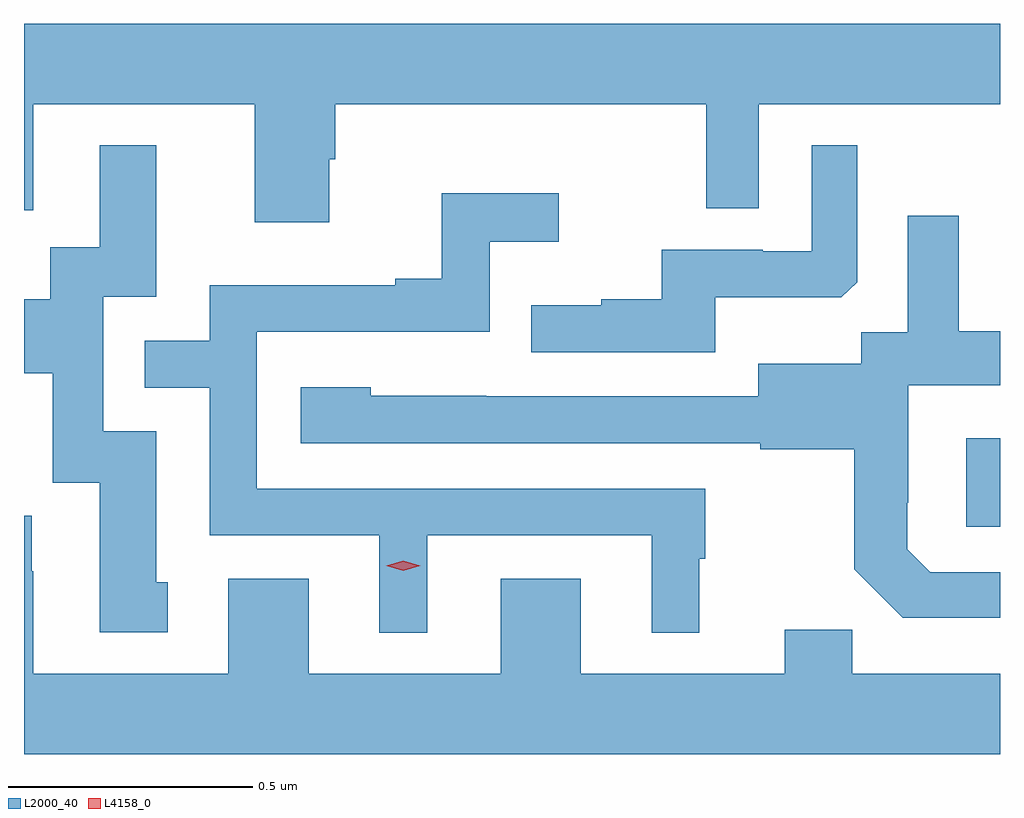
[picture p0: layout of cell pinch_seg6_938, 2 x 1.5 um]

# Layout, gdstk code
import gdstk
lib = gdstk.Library(unit=1e-6, precision=1e-09)
def R(c, l, rs):  # rectangles x0, y0, x1, y1
    for r in rs: c.add(gdstk.rectangle(r[:2], r[2:], *l))
def P(c, l, *ps):  # polygons
    for p in ps: c.add(gdstk.Polygon(p, *l))
L2000_40 = (2000, 40)
L4158_0 = (4158, 0)

pinch_seg6_938 = lib.new_cell('pinch_seg6_938')
R(pinch_seg6_938, L2000_40, [(200.171,930.486,200.24,930.667)])
P(pinch_seg6_938, L2000_40, [(198.865,931.239),(198.878,931.239),(198.878,931.352),(199.638,931.352),(199.638,931.138),(199.746,931.138),(199.746,931.352),(200.24,931.352),(200.24,931.516),(198.24,931.516),(198.24,931.134),(198.259,931.134),(198.259,931.352),(198.713,931.352),(198.713,931.11),(198.865,931.11)],
  [(199.657,930.956),(199.915,930.956),(199.947,930.987),(199.947,931.267),(199.854,931.267),(199.854,931.05),(199.754,931.05),(199.754,931.053),(199.547,931.053),(199.547,930.952),(199.423,930.952),(199.423,930.94),(199.279,930.94),(199.279,930.843),(199.657,930.843)],
  [(198.535,930.372),(198.511,930.372),(198.511,930.681),(198.402,930.681),(198.402,930.957),(198.511,930.957),(198.511,931.267),(198.395,931.267),(198.395,931.058),(198.294,931.058),(198.294,930.952),(198.24,930.952),(198.24,930.8),(198.299,930.8),(198.299,930.576),(198.395,930.576),(198.395,930.27),(198.535,930.27)],
  [(199.066,930.468),(199.526,930.468),(199.526,930.269),(199.624,930.269),(199.624,930.42),(199.636,930.42),(199.636,930.564),(198.717,930.564),(198.717,930.885),(199.194,930.885),(199.194,931.07),(199.336,931.07),(199.336,931.169),(199.096,931.169),(199.096,930.994),(199.001,930.994),(199.001,930.981),(198.621,930.981),(198.621,930.867),(198.487,930.867),(198.487,930.771),(198.621,930.771),(198.621,930.468),(198.968,930.468),(198.968,930.269),(199.066,930.269)],
  [(200.24,930.393),(200.097,930.393),(200.05,930.44),(200.05,930.535),(200.052,930.535),(200.052,930.776),(200.24,930.776),(200.24,930.886),(200.155,930.886),(200.155,931.123),(200.051,931.123),(200.051,930.884),(199.956,930.884),(199.956,930.82),(199.745,930.82),(199.745,930.753),(199.187,930.753),(199.187,930.754),(198.951,930.754),(198.951,930.772),(198.807,930.772),(198.807,930.657),(199.749,930.657),(199.749,930.645),(199.941,930.645),(199.941,930.399),(200.041,930.299),(200.24,930.299)],
  [(199.217,930.379),(199.217,930.184),(198.823,930.184),(198.823,930.379),(198.659,930.379),(198.659,930.184),(198.259,930.184),(198.259,930.395),(198.256,930.395),(198.256,930.508),(198.24,930.508),(198.24,930.02),(200.24,930.02),(200.24,930.184),(199.937,930.184),(199.937,930.275),(199.799,930.275),(199.799,930.184),(199.381,930.184),(199.381,930.379)])
P(pinch_seg6_938, L4158_0, [(199.017,930.396),(198.982,930.406),(198.981,930.406),(198.982,930.406),(199.017,930.416),(199.052,930.406),(199.052,930.406),(199.052,930.406)])

lib.write_gds('pinch_seg6_938.gds')
